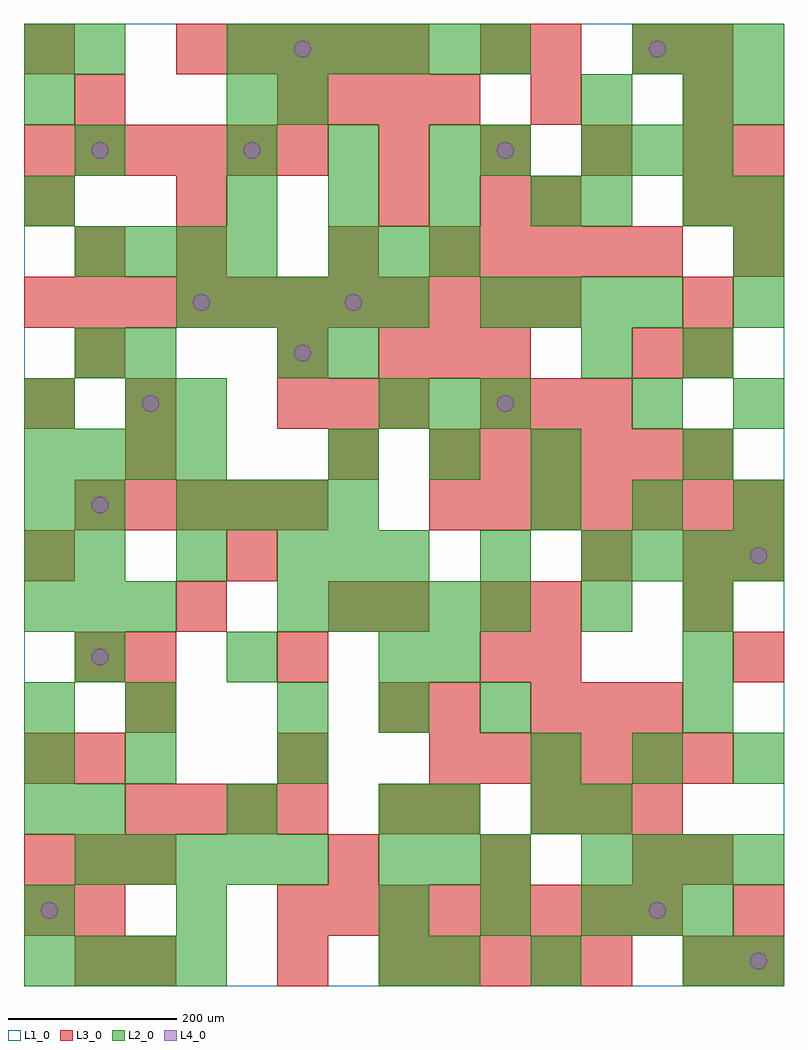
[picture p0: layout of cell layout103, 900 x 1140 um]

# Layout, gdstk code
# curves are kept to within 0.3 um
import gdstk
lib = gdstk.Library(unit=1e-6, precision=1e-09)
def R(c, l, rs):  # rectangles x0, y0, x1, y1
    for r in rs: c.add(gdstk.rectangle(r[:2], r[2:], *l))
def A(c, l, x, y, w, h, nx, ny, dx, dy):  # array of equal rectangles
    R(c, l, [(x+i*dx, y+j*dy, x+i*dx+w, y+j*dy+h) for i in range(nx) for j in range(ny)])
def P(c, l, *ps):  # polygons
    for p in ps: c.add(gdstk.Polygon(p, *l))
L1_0 = (1, 0)
L2_0 = (2, 0)
L3_0 = (3, 0)
L4_0 = (4, 0)

layout103 = lib.new_cell('layout103')
R(layout103, L1_0, [(0,0,900,1140)])
A(layout103, L2_0, 0, 0, 60, 60, 4, 2, 60, 600)
A(layout103, L2_0, 480, 0, 60, 60, 1, 3, 0, 180)
A(layout103, L2_0, 420, 60, 60, 60, 3, 2, 120, 420)
A(layout103, L2_0, 60, 120, 60, 60, 5, 1, 60, 0)
A(layout103, L2_0, 420, 120, 60, 60, 3, 2, 60, 540)
A(layout103, L2_0, 660, 120, 60, 60, 4, 1, 60, 0)
A(layout103, L2_0, 0, 180, 60, 60, 1, 3, 0, 60)
A(layout103, L2_0, 60, 180, 60, 60, 3, 2, 180, 180)
A(layout103, L2_0, 600, 240, 60, 60, 3, 2, 120, 300)
A(layout103, L2_0, 300, 300, 60, 60, 3, 1, 120, 0)
A(layout103, L2_0, 780, 300, 60, 60, 1, 3, 0, 60)
A(layout103, L2_0, 0, 420, 60, 60, 3, 1, 60, 0)
A(layout103, L2_0, 300, 420, 60, 60, 5, 1, 60, 0)
A(layout103, L2_0, 60, 480, 60, 60, 3, 1, 120, 0)
A(layout103, L2_0, 720, 480, 60, 60, 3, 2, 60, 600)
A(layout103, L2_0, 180, 540, 60, 60, 4, 1, 60, 0)
A(layout103, L2_0, 360, 600, 60, 60, 3, 1, 120, 0)
A(layout103, L2_0, 180, 780, 60, 60, 5, 1, 60, 0)
A(layout103, L2_0, 540, 780, 60, 60, 4, 1, 60, 0)
A(layout103, L2_0, 840, 780, 60, 60, 1, 3, 0, 60)
A(layout103, L2_0, 60, 840, 60, 60, 4, 1, 60, 0)
A(layout103, L2_0, 360, 840, 60, 60, 3, 1, 60, 0)
A(layout103, L2_0, 240, 900, 60, 60, 4, 1, 120, 0)
A(layout103, L2_0, 240, 960, 60, 60, 3, 1, 120, 0)
A(layout103, L2_0, 660, 960, 60, 60, 3, 1, 60, 0)
A(layout103, L2_0, 240, 1080, 60, 60, 6, 1, 60, 0)
R(layout103, L2_0, [(420,0,480,60), (600,0,660,60), (780,0,840,60), (840,0,900,60), (0,60,60,120), (180,60,240,120), (720,60,780,120), (780,60,840,120), (600,180,660,240), (660,180,720,240), (120,240,180,300), (300,240,360,300), (120,300,180,360), (660,420,720,480), (0,480,60,540), (360,480,420,540), (0,540,60,600), (60,540,120,600), (780,600,840,660), (0,660,60,720), (120,660,180,720), (180,660,240,720), (720,660,780,720), (840,660,900,720), (60,720,120,780), (120,720,180,780), (300,720,360,780), (360,720,420,780), (660,720,720,780), (780,720,840,780), (0,900,60,960), (660,900,720,960), (780,900,840,960), (60,960,120,1020), (540,960,600,1020), (0,1020,60,1080), (240,1020,300,1080), (300,1020,360,1080), (660,1020,720,1080), (780,1020,840,1080), (840,1020,900,1080), (0,1080,60,1140), (60,1080,120,1140)])
A(layout103, L3_0, 420, 0, 60, 60, 5, 1, 60, 0)
A(layout103, L3_0, 300, 60, 60, 60, 8, 1, 60, 0)
A(layout103, L3_0, 0, 120, 60, 60, 3, 1, 60, 0)
A(layout103, L3_0, 360, 120, 60, 60, 3, 1, 180, 0)
A(layout103, L3_0, 120, 180, 60, 60, 4, 1, 60, 0)
A(layout103, L3_0, 420, 180, 60, 60, 1, 3, 0, 120)
A(layout103, L3_0, 600, 180, 60, 60, 3, 2, 60, 120)
A(layout103, L3_0, 480, 240, 60, 60, 6, 2, 60, 360)
A(layout103, L3_0, 60, 540, 60, 60, 5, 1, 60, 0)
A(layout103, L3_0, 480, 540, 60, 60, 7, 1, 60, 0)
A(layout103, L3_0, 300, 660, 60, 60, 3, 1, 60, 0)
A(layout103, L3_0, 540, 660, 60, 60, 3, 1, 60, 0)
A(layout103, L3_0, 420, 720, 60, 60, 3, 1, 60, 0)
A(layout103, L3_0, 0, 780, 60, 60, 11, 1, 60, 0)
A(layout103, L3_0, 780, 780, 60, 60, 1, 3, 0, 120)
A(layout103, L3_0, 480, 840, 60, 60, 5, 1, 60, 0)
A(layout103, L3_0, 840, 840, 60, 60, 1, 3, 0, 60)
A(layout103, L3_0, 0, 960, 60, 60, 6, 1, 60, 0)
A(layout103, L3_0, 420, 960, 60, 60, 4, 1, 120, 0)
A(layout103, L3_0, 300, 1020, 60, 60, 4, 1, 60, 0)
A(layout103, L3_0, 180, 1080, 60, 60, 5, 1, 60, 0)
R(layout103, L3_0, [(60,0,120,60), (120,0,180,60), (300,0,360,60), (780,0,840,60), (840,0,900,60), (0,60,60,120), (60,60,120,120), (840,60,900,120), (780,120,840,180), (480,180,540,240), (0,240,60,300), (60,240,120,300), (300,240,360,300), (120,300,180,360), (480,300,540,360), (60,360,120,420), (120,360,180,420), (300,360,360,420), (540,360,600,420), (600,360,660,420), (840,360,900,420), (180,420,240,480), (360,420,420,480), (540,420,600,480), (600,420,660,480), (780,420,840,480), (0,480,60,540), (240,480,300,540), (660,480,720,540), (780,480,840,540), (840,480,900,540), (120,600,180,660), (360,600,420,660), (0,660,60,720), (120,660,180,720), (60,720,120,780), (300,720,360,780), (720,720,780,780), (780,720,840,780), (60,840,120,900), (180,840,240,900), (360,840,420,900), (0,900,60,960), (180,900,240,960), (420,900,480,960), (540,900,600,960), (600,900,660,960), (60,1020,120,1080), (600,1020,660,1080), (0,1080,60,1140), (540,1080,600,1140), (600,1080,660,1140), (720,1080,780,1140), (780,1080,840,1140)])
P(layout103, L4_0, [(40,90),(39.239,93.827),(37.071,97.071),(33.827,99.239),(30,100),(26.173,99.239),(22.929,97.071),(20.761,93.827),(20,90),(20.761,86.173),(22.929,82.929),(26.173,80.761),(30,80),(33.827,80.761),(37.071,82.929),(39.239,86.173)],
  [(100,390),(99.239,393.827),(97.071,397.071),(93.827,399.239),(90,400),(86.173,399.239),(82.929,397.071),(80.761,393.827),(80,390),(80.761,386.173),(82.929,382.929),(86.173,380.761),(90,380),(93.827,380.761),(97.071,382.929),(99.239,386.173)],
  [(100,570),(99.239,573.827),(97.071,577.071),(93.827,579.239),(90,580),(86.173,579.239),(82.929,577.071),(80.761,573.827),(80,570),(80.761,566.173),(82.929,562.929),(86.173,560.761),(90,560),(93.827,560.761),(97.071,562.929),(99.239,566.173)],
  [(100,990),(99.239,993.827),(97.071,997.071),(93.827,999.239),(90,1000),(86.173,999.239),(82.929,997.071),(80.761,993.827),(80,990),(80.761,986.173),(82.929,982.929),(86.173,980.761),(90,980),(93.827,980.761),(97.071,982.929),(99.239,986.173)],
  [(160,690),(159.239,693.827),(157.071,697.071),(153.827,699.239),(150,700),(146.173,699.239),(142.929,697.071),(140.761,693.827),(140,690),(140.761,686.173),(142.929,682.929),(146.173,680.761),(150,680),(153.827,680.761),(157.071,682.929),(159.239,686.173)],
  [(220,810),(219.239,813.827),(217.071,817.071),(213.827,819.239),(210,820),(206.173,819.239),(202.929,817.071),(200.761,813.827),(200,810),(200.761,806.173),(202.929,802.929),(206.173,800.761),(210,800),(213.827,800.761),(217.071,802.929),(219.239,806.173)],
  [(280,990),(279.239,993.827),(277.071,997.071),(273.827,999.239),(270,1000),(266.173,999.239),(262.929,997.071),(260.761,993.827),(260,990),(260.761,986.173),(262.929,982.929),(266.173,980.761),(270,980),(273.827,980.761),(277.071,982.929),(279.239,986.173)],
  [(340,750),(339.239,753.827),(337.071,757.071),(333.827,759.239),(330,760),(326.173,759.239),(322.929,757.071),(320.761,753.827),(320,750),(320.761,746.173),(322.929,742.929),(326.173,740.761),(330,740),(333.827,740.761),(337.071,742.929),(339.239,746.173)],
  [(340,1110),(339.239,1113.827),(337.071,1117.071),(333.827,1119.239),(330,1120),(326.173,1119.239),(322.929,1117.071),(320.761,1113.827),(320,1110),(320.761,1106.173),(322.929,1102.929),(326.173,1100.761),(330,1100),(333.827,1100.761),(337.071,1102.929),(339.239,1106.173)],
  [(400,810),(399.239,813.827),(397.071,817.071),(393.827,819.239),(390,820),(386.173,819.239),(382.929,817.071),(380.761,813.827),(380,810),(380.761,806.173),(382.929,802.929),(386.173,800.761),(390,800),(393.827,800.761),(397.071,802.929),(399.239,806.173)],
  [(580,690),(579.239,693.827),(577.071,697.071),(573.827,699.239),(570,700),(566.173,699.239),(562.929,697.071),(560.761,693.827),(560,690),(560.761,686.173),(562.929,682.929),(566.173,680.761),(570,680),(573.827,680.761),(577.071,682.929),(579.239,686.173)],
  [(580,990),(579.239,993.827),(577.071,997.071),(573.827,999.239),(570,1000),(566.173,999.239),(562.929,997.071),(560.761,993.827),(560,990),(560.761,986.173),(562.929,982.929),(566.173,980.761),(570,980),(573.827,980.761),(577.071,982.929),(579.239,986.173)],
  [(760,90),(759.239,93.827),(757.071,97.071),(753.827,99.239),(750,100),(746.173,99.239),(742.929,97.071),(740.761,93.827),(740,90),(740.761,86.173),(742.929,82.929),(746.173,80.761),(750,80),(753.827,80.761),(757.071,82.929),(759.239,86.173)],
  [(760,1110),(759.239,1113.827),(757.071,1117.071),(753.827,1119.239),(750,1120),(746.173,1119.239),(742.929,1117.071),(740.761,1113.827),(740,1110),(740.761,1106.173),(742.929,1102.929),(746.173,1100.761),(750,1100),(753.827,1100.761),(757.071,1102.929),(759.239,1106.173)],
  [(880,30),(879.239,33.827),(877.071,37.071),(873.827,39.239),(870,40),(866.173,39.239),(862.929,37.071),(860.761,33.827),(860,30),(860.761,26.173),(862.929,22.929),(866.173,20.761),(870,20),(873.827,20.761),(877.071,22.929),(879.239,26.173)],
  [(880,510),(879.239,513.827),(877.071,517.071),(873.827,519.239),(870,520),(866.173,519.239),(862.929,517.071),(860.761,513.827),(860,510),(860.761,506.173),(862.929,502.929),(866.173,500.761),(870,500),(873.827,500.761),(877.071,502.929),(879.239,506.173)])

lib.write_gds('layout103.gds')
